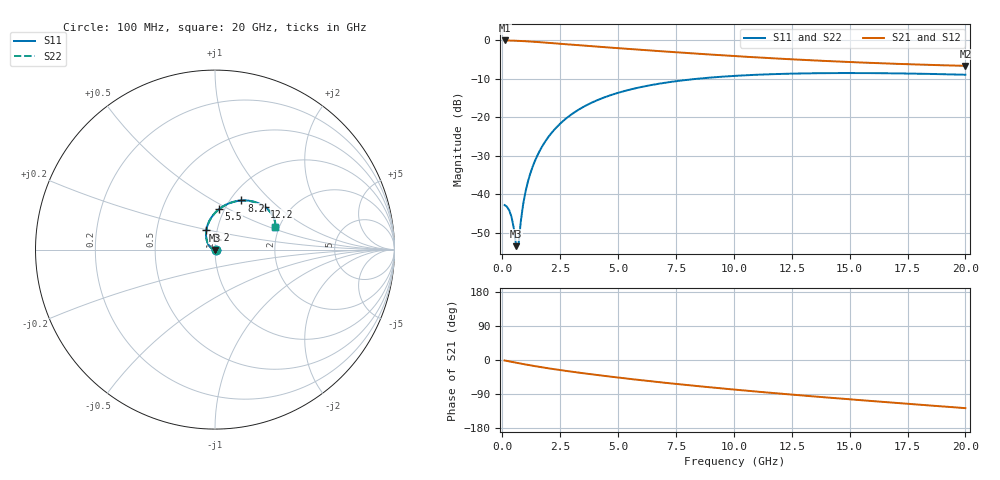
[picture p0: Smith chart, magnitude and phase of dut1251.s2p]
! Touchstone file exported from HFSS 2024.1.0
!  File:  C:/UserFiles/LocalFiles/RDL_TSV_Batchsim/temp_RDL_TSV_1251_1780269462.aedt
!  Generated:  07:35:13 AM Jun  1, 2026
!  Design:  RDL_TSV
!  Project:  temp_RDL_TSV_1251_1780269462
!  Setup:  Setup1
!  Solution:  Sweep
! Variables:
!  dtsv = 9.34um
!  hbump = 3um
!  htsv = 69.13um
!  ldown = 278.29um
!  lrdl = 202.3um
!  p = 40
!  p1 = 56.06um
!  rhole = 10um
!  subl = 1644.07um
!  t = 450um
!  tdown = 4.33um
!  trdl = 4.52um
!  viad = 10um
!  wdown = 21.5um
!  wrdl = 20.21um
!  xbump = 18um
# GHz S MA R 50.000000
! Terminal data exported
! Port[1] = TM1_1_T1
! Port[2] = TM1_4_T1
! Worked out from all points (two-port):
!   200 points, 100 MHz to 20 GHz, reference 50 ohm
!   highest |S21| = -0.07 dB at 100 MHz (marker M1); lowest = -6.7 dB at 20 GHz (marker M2)
!   |S21| within 3 dB of the highest: start of sweep to 7.338 GHz
!   lowest |S11| = -53.5 dB at 600 MHz (marker M3), VSWR 1.00, Z = 50.1 - j0.191 ohm
!   |S11| at or under -10 dB: start of sweep to 8.461 GHz
!   |S22| runs from -53.5 to -8.6 dB; largest |S21 - S12| = 2.3e-13
!   S11 on the Smith chart (normalised r, x): 100 MHz: 1.01, -0.00; 3.2 GHz: 0.89, +0.20; 5.5 GHz: 0.94, +0.45; 8.2 GHz: 1.13, +0.68; 12.2 GHz: 1.49, +0.82; 20 GHz: 1.90, +0.54
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0.1  0.007211 -2.6  0.9923 -1.2  0.9923 -1.2  0.007212 -2.6
! Gamma 0 0 0 0
! Port Impedance 50 0 50 0
0.3  0.006155 -11.6  0.9901 -3.7  0.9901 -3.7  0.006159 -11.6
0.4  0.005044 -19.2  0.9882 -4.9  0.9882 -4.9  0.005051 -19.2
0.5  0.00359 -32.2  0.986 -6.1  0.986 -6.1  0.003602 -32.1
0.6  0.002109 -64.5  0.9834 -7.2  0.9834 -7.2  0.002119 -64.1
0.7  0.002229 -135.0  0.9804 -8.4  0.9804 -8.4  0.002214 -134.4
0.8  0.004437 -168.4  0.9772 -9.5  0.9772 -9.5  0.004407 -168.2
0.9  0.00735 178.6  0.9736 -10.7  0.9736 -10.7  0.007311 178.7
1  0.01065 171.0  0.9699 -11.8  0.9699 -11.8  0.0106 171.1
1.2  0.01814 161.2  0.9616 -13.9  0.9616 -13.9  0.01807 161.2
1.5  0.03109 150.7  0.9481 -17.1  0.9481 -17.1  0.03099 150.7
2.2  0.06628 132.7  0.9136 -23.9  0.9136 -23.9  0.06608 132.7
3.2  0.1201 113.6  0.8649 -32.5  0.8649 -32.5  0.1197 113.6
3.5  0.1358 108.9  0.8512 -34.9  0.8512 -34.9  0.1355 108.8
5.5  0.2277 84.0  0.7682 -49.8  0.7682 -49.8  0.227 84.0
6.8  0.2732 72.2  0.7208 -58.6  0.7208 -58.6  0.2724 72.1
8.2  0.3105 61.8  0.6747 -67.4  0.6747 -67.4  0.3096 61.7
10.1  0.3449 50.5  0.6203 -78.5  0.6203 -78.5  0.3438 50.5
12.2  0.3659 40.8  0.5708 -89.8  0.5708 -89.8  0.3647 40.7
13.4  0.3719 36.2  0.5471 -95.9  0.5471 -95.9  0.3706 36.1
16.7  0.3718 26.5  0.4971 -111.8  0.4971 -111.8  0.3705 26.4
20  0.3559 20.5  0.4641 -127.1  0.4641 -127.1  0.3545 20.4
